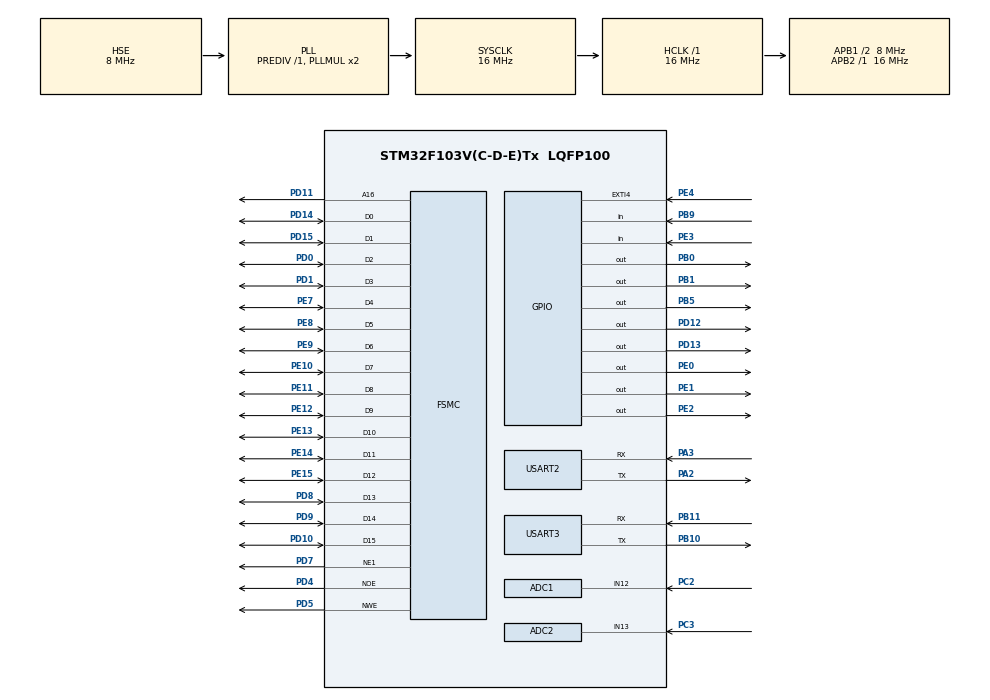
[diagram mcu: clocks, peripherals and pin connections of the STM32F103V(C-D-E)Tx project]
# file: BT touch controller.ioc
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ADC1.Channel-0\#ChannelRegularConversion=ADC_CHANNEL_12
ADC1.NbrOfConversionFlag=1
ADC1.Rank-0\#ChannelRegularConversion=1
ADC1.SamplingTime-0\#ChannelRegularConversion=ADC_SAMPLETIME_1CYCLE_5
ADC1.master=1
ADC2.Channel-0\#ChannelRegularConversion=ADC_CHANNEL_13
ADC2.NbrOfConversionFlag=1
ADC2.Rank-0\#ChannelRegularConversion=1
ADC2.SamplingTime-0\#ChannelRegularConversion=ADC_SAMPLETIME_1CYCLE_5
Mcu.Family=STM32F1
Mcu.Name=STM32F103V(C-D-E)Tx
Mcu.Package=LQFP100
NVIC.EXTI4_IRQn=true\:0\:0\:false\:false\:true\:true\:true\:true
NVIC.PriorityGroup=NVIC_PRIORITYGROUP_4
NVIC.USART2_IRQn=true\:0\:0\:false\:false\:true\:true\:true\:true
NVIC.USART3_IRQn=true\:0\:0\:false\:false\:true\:true\:true\:true
OSC_IN.Mode=HSE-External-Oscillator
OSC_IN.Signal=RCC_OSC_IN
OSC_OUT.Mode=HSE-External-Oscillator
OSC_OUT.Signal=RCC_OSC_OUT
PA13.Mode=Serial_Wire
PA13.Signal=SYS_JTMS-SWDIO
PA14.Mode=Serial_Wire
PA14.Signal=SYS_JTCK-SWCLK
PA2.Mode=Asynchronous
PA2.Signal=USART2_TX
PA3.Mode=Asynchronous
PA3.Signal=USART2_RX
PB0.GPIO_Speed=GPIO_SPEED_FREQ_HIGH
PB0.PinState=GPIO_PIN_SET
PB0.Signal=GPIO_Output
PB1.GPIO_Speed=GPIO_SPEED_FREQ_HIGH
PB1.PinState=GPIO_PIN_SET
PB1.Signal=GPIO_Output
PB10.Mode=Asynchronous
PB10.Signal=USART3_TX
PB11.Mode=Asynchronous
PB11.Signal=USART3_RX
PB5.GPIO_Speed=GPIO_SPEED_FREQ_HIGH
PB5.PinState=GPIO_PIN_SET
PB5.Signal=GPIO_Output
PB9.GPIO_PuPd=GPIO_PULLUP
PB9.Signal=GPIO_Input
PC14-OSC32_IN.Mode=LSE-External-Oscillator
PC14-OSC32_IN.Signal=RCC_OSC32_IN
PC15-OSC32_OUT.Mode=LSE-External-Oscillator
PC15-OSC32_OUT.Signal=RCC_OSC32_OUT
PC2.Signal=ADCx_IN12
PC3.Signal=ADCx_IN13
PD0.Mode=16b-d1
PD0.Signal=FSMC_D2
PD1.Mode=16b-d1
PD1.Signal=FSMC_D3
PD10.Mode=16b-d1
PD10.Signal=FSMC_D15
PD11.Mode=A16_1
PD11.Signal=FSMC_A16
PD12.GPIO_Speed=GPIO_SPEED_FREQ_HIGH
PD12.PinState=GPIO_PIN_RESET
PD12.Signal=GPIO_Output
PD13.GPIO_Speed=GPIO_SPEED_FREQ_HIGH
PD13.Signal=GPIO_Output
PD14.Mode=16b-d1
PD14.Signal=FSMC_D0
PD15.Mode=16b-d1
PD15.Signal=FSMC_D1
PD4.Mode=Lcd1
PD4.Signal=FSMC_NOE
PD5.Mode=Lcd1
PD5.Signal=FSMC_NWE
PD7.Mode=NorPsramChipSelect1_1
PD7.Signal=FSMC_NE1
PD8.Mode=16b-d1
PD8.Signal=FSMC_D13
PD9.Mode=16b-d1
PD9.Signal=FSMC_D14
PE0.GPIO_Speed=GPIO_SPEED_FREQ_HIGH
PE0.Signal=GPIO_Output
PE1.GPIO_Speed=GPIO_SPEED_FREQ_HIGH
PE1.PinState=GPIO_PIN_RESET
PE1.Signal=GPIO_Output
PE10.Mode=16b-d1
PE10.Signal=FSMC_D7
PE11.Mode=16b-d1
PE11.Signal=FSMC_D8
PE12.Mode=16b-d1
PE12.Signal=FSMC_D9
PE13.Mode=16b-d1
PE13.Signal=FSMC_D10
PE14.Mode=16b-d1
PE14.Signal=FSMC_D11
PE15.Mode=16b-d1
PE15.Signal=FSMC_D12
PE2.GPIO_Speed=GPIO_SPEED_FREQ_HIGH
PE2.Signal=GPIO_Output
PE3.GPIO_PuPd=GPIO_PULLUP
PE3.Signal=GPIO_Input
PE4.GPIO_ModeDefaultEXTI=GPIO_MODE_IT_FALLING
PE4.GPIO_PuPd=GPIO_PULLUP
PE4.Signal=GPXTI4
PE7.Mode=16b-d1
PE7.Signal=FSMC_D4
PE8.Mode=16b-d1
PE8.Signal=FSMC_D5
PE9.Mode=16b-d1
PE9.Signal=FSMC_D6
ProjectManager.HeapSize=0x200
ProjectManager.StackSize=0x400
ProjectManager.TargetToolchain=STM32CubeIDE
RCC.AHBFreq_Value=16000000
RCC.APB1CLKDivider=RCC_HCLK_DIV2
RCC.APB1Freq_Value=8000000
RCC.APB1TimFreq_Value=16000000
RCC.APB2Freq_Value=16000000
RCC.APB2TimFreq_Value=16000000
RCC.HCLKFreq_Value=16000000
RCC.PLLSourceVirtual=RCC_PLLSOURCE_HSE
RCC.SYSCLKFreq_VALUE=16000000
RCC.SYSCLKSource=RCC_SYSCLKSOURCE_PLLCLK
RCC.USBFreq_Value=16000000
SH.ADCx_IN12.0=ADC1_IN12,IN12
SH.ADCx_IN13.0=ADC2_IN13,IN13
USART2.VirtualMode=VM_ASYNC
USART3.VirtualMode=VM_ASYNC
board=custom

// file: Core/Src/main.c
/* USER CODE BEGIN Header */
/**
  ******************************************************************************
  * @file           : main.c
  * @brief          : Main program body
  ******************************************************************************
  * @attention
  *
  * <h2><center>&copy; Copyright (c) 2019 STMicroelectronics.
  * All rights reserved.</center></h2>
  *
  * This software component is licensed by ST under BSD 3-Clause license,
  * the "License"; You may not use this file except in compliance with the
  * License. You may obtain a copy of the License at:
  *                        opensource.org/licenses/BSD-3-Clause
  *
  ******************************************************************************
  */
/* USER CODE END Header */
#include "main.h"

/* USER CODE BEGIN Includes */
#include "lcdtp.h"
#include "xpt2046.h"
#include <stdio.h>
#include <string.h>

/* USER CODE END Includes */

ADC_HandleTypeDef hadc1;
ADC_HandleTypeDef hadc2;

UART_HandleTypeDef huart2;
UART_HandleTypeDef huart3;

SRAM_HandleTypeDef hsram1;

/* USER CODE BEGIN PV */
uint32_t adc_value[2];  // Raw ADC values
int16_t cal_value[2];   // Calibrated values (-3 to +3)
char buff[32];          // Buffer for string formatting

uint8_t Data[3];																				//BT

// Calibration constants
#define ADC_SAMPLES 8   // Number of samples for averaging
#define DEAD_ZONE 50    // Dead zone for center position

#define X_CENTER 2029
#define X_MIN    0001
#define X_MAX    4090
#define Y_CENTER 2008
#define Y_MIN    0
#define Y_MAX    4040

    int16_t joystick_x;     // X value
    int16_t joystick_y;     // Y value

/* Function to map ADC value to -5 to +5 scale with dead zone */
int16_t calibrate_axis(uint32_t raw, uint32_t center, uint32_t min_val, uint32_t max_val) {
    if (raw > (center - DEAD_ZONE) && raw < (center + DEAD_ZONE)) {
        return 0;  // Within dead zone, return center position
    }

    if (raw < center) {
        // Map values below center to -5 to 0
        if (raw < min_val) raw = min_val;
        return (int16_t)(-5.0f * (center - raw) / (center - min_val));
    } else {
        // Map values above center to 0 to +5
        if (raw > max_val) raw = max_val;
        return (int16_t)(5.0f * (raw - center) / (max_val - center));
    }
}

/* USER CODE END PV */

void SystemClock_Config(void);
static void MX_GPIO_Init(void);
static void MX_FSMC_Init(void);
static void MX_ADC1_Init(void);
static void MX_ADC2_Init(void);
static void MX_USART2_UART_Init(void);
static void MX_USART3_UART_Init(void);

/* USER CODE BEGIN 0 */
void HAL_UARTEx_RxCpltCallback(UART_HandleTypeDef *huart, uint16_t Size)
{
  if(huart->Instance==USART2)
  {

    HAL_UART_Transmit(&huart2, Data, Size, 1000);

  }
  HAL_UARTEx_ReceiveToIdle_IT(&huart2,Data,3);
}

/* USER CODE END 0 */

int main(void)
{

  /* MCU Configuration--------------------------------------------------------*/

  /* Reset of all peripherals, Initializes the Flash interface and the Systick. */
  HAL_Init();

  /* Configure the system clock */
  SystemClock_Config();

  /* Initialize all configured peripherals */
  MX_GPIO_Init();
  MX_FSMC_Init();
  MX_ADC1_Init();
  MX_ADC2_Init();
  MX_USART2_UART_Init();
  MX_USART3_UART_Init();
  /* USER CODE BEGIN 2 */

	macXPT2046_CS_DISABLE();

	LCD_INIT();

   // Initialize and calibrate both ADCs
  HAL_ADCEx_Calibration_Start(&hadc1);
  HAL_ADCEx_Calibration_Start(&hadc2);

  // Configure ADC1 for Channel 12
  hadc1.Init.ScanConvMode = DISABLE;  // Single channel mode
  hadc1.Init.ContinuousConvMode = ENABLE;
  hadc1.Init.NbrOfConversion = 1;
  HAL_ADC_Init(&hadc1);

  // Configure ADC2 for Channel 13
  hadc2.Init.ScanConvMode = DISABLE;  // Single channel mode
  hadc2.Init.ContinuousConvMode = ENABLE;
  hadc2.Init.NbrOfConversion = 1;
  HAL_ADC_Init(&hadc2);

  // Configure Channel 12 on ADC1
  ADC_ChannelConfTypeDef sConfig = {0};
  sConfig.Channel = ADC_CHANNEL_12;
  sConfig.Rank = ADC_REGULAR_RANK_1;
  sConfig.SamplingTime = ADC_SAMPLETIME_239CYCLES_5;
  HAL_ADC_ConfigChannel(&hadc1, &sConfig);

  // Configure Channel 13 on ADC2
  sConfig.Channel = ADC_CHANNEL_13;
  HAL_ADC_ConfigChannel(&hadc2, &sConfig);

  // Start both ADCs
  HAL_ADC_Start(&hadc1);
  HAL_ADC_Start(&hadc2);

  LCD_DrawString(100, 35, "X       Y");
  LCD_DrawString(10, 60, "Joystick:");

  HAL_UARTEx_ReceiveToIdle_IT(&huart2,Data,3); 			  									// BT

	LCD_Clear (50, 80, 140, 70, RED);
	LCD_DrawString(68, 100, "TOUCHPAD Init");
	HAL_Delay(2000);

	while( ! XPT2046_Touch_Calibrate () );

	LCD_Clear ( 0, 0, 240, 320, GREY );
	// LCD_Clear ( 90,  230,  60, 60, BLUE );

  // Draw 4 buttons at the bottom
  LCD_Clear(20, 232, 50, 50, BLUE);    // Button 1
  LCD_Clear(75, 232, 50, 50, GREEN);   // Button 2
  LCD_Clear(130, 232, 50, 50, YELLOW); // Button 3
  LCD_Clear(185, 232, 50, 50, RED);    // Button 4 (reset)

  // Optionally, add labels
  LCD_DrawString(35, 255, "B1");
  LCD_DrawString(90, 255, "B2");
  LCD_DrawString(145, 255, "B3");
  LCD_DrawString(200, 255, "RST");

  /* USER CODE END 2 */

  /* Infinite loop */
  /* USER CODE BEGIN WHILE */

  while (1)
  {
    if ( ucXPT2046_TouchFlag == 1 )
    {
			Check_touchkey();
      ucXPT2046_TouchFlag = 0;
    }
		HAL_Delay(50);

    /* USER CODE END WHILE */

    /* USER CODE BEGIN 3 */

    uint32_t x_sum = 0;
    uint32_t y_sum = 0;

    // Take multiple samples and average them
    for(int i = 0; i < ADC_SAMPLES; i++) {
        // Read X axis (ADC1 Channel 12)
        HAL_ADC_PollForConversion(&hadc1, 100);
        x_sum += HAL_ADC_GetValue(&hadc1);

        // Read Y axis (ADC2 Channel 13)
        HAL_ADC_PollForConversion(&hadc2, 100);
        y_sum += HAL_ADC_GetValue(&hadc2);

        HAL_Delay(1);
    }

    // Calculate averages
    adc_value[0] = x_sum / ADC_SAMPLES;
    adc_value[1] = y_sum / ADC_SAMPLES;

    // Calibrate values to -10 to +10 scale
    cal_value[0] = calibrate_axis(adc_value[0], X_CENTER, X_MIN, X_MAX);
    cal_value[1] = calibrate_axis(adc_value[1], Y_CENTER, Y_MIN, Y_MAX);

    // Display raw X value
    sprintf(buff, "%04lu", adc_value[0]);
    LCD_DrawString(100, 80, buff);

    // Display raw Y value
    sprintf(buff, "%04lu", adc_value[1]);
    LCD_DrawString(160, 80, buff);

    // Display calibrated X value
    sprintf(buff, "%3d", cal_value[0]);
    LCD_DrawString(100, 100, buff);

    // Display calibrated Y value
    sprintf(buff, "%3d", cal_value[1]);
    LCD_DrawString(160, 100, buff);

    // Read B1 button state (pressed = 0, not pressed = 1)
    uint8_t pressed = (HAL_GPIO_ReadPin(GPIOB, GPIO_PIN_9) == GPIO_PIN_RESET);

    if (pressed) {
        // Remap for B9 pressed
        switch (cal_value[0]) {
            case -5: Data[0] = 35; break;
            case -4: Data[0] = 34; break;
            case -3: Data[0] = 33; break;
            case -2: Data[0] = 32; break;
            case -1: Data[0] = 31; break;
            case 0:  Data[0] = 20; break;
            case 1:  Data[0] = 21; break;
            case 2:  Data[0] = 22; break;
            case 3:  Data[0] = 23; break;
            case 4:  Data[0] = 24; break;
            case 5:  Data[0] = 25; break;
            default: Data[0] = 0; break; // fallback
        }
        switch (cal_value[1]) {
            case -5: Data[1] = 35; break;
            case -4: Data[1] = 34; break;
            case -3: Data[1] = 33; break;
            case -2: Data[1] = 32; break;
            case -1: Data[1] = 31; break;
            case 0:  Data[1] = 20; break;
            case 1:  Data[1] = 21; break;
            case 2:  Data[1] = 22; break;
            case 3:  Data[1] = 23; break;
            case 4:  Data[1] = 24; break;
            case 5:  Data[1] = 25; break;
            default: Data[1] = 0; break; // fallback
        }
    } else {
        // Original mapping for B9 not pressed
        switch (cal_value[0]) {
            case -5: Data[0] = 15; break;
            case -4: Data[0] = 14; break;
            case -3: Data[0] = 13; break;
            case -2: Data[0] = 12; break;
            case -1: Data[0] = 11; break;
            default: Data[0] = (uint8_t)cal_value[0]; break;  // 0 to 5
        }
        switch (cal_value[1]) {
            case -5: Data[1] = 15; break;
            case -4: Data[1] = 14; break;
            case -3: Data[1] = 13; break;
            case -2: Data[1] = 12; break;
            case -1: Data[1] = 11; break;
            default: Data[1] = (uint8_t)cal_value[1]; break;  // 0 to 5
        }
    }

    HAL_UART_Transmit(&huart2, Data, 3, 100);

    sprintf(buff, "Raw: %3d %3d %3d", Data[0], Data[1], Data[2]);
    LCD_DrawString(10, 120, buff);

   // read the register to see if the nrf24l01 is connected to the microcontroller
    /*
    uint8_t status_reg = nrf24_ReadReg(STATUS);
    sprintf(buff, "ST:%02X", status_reg);
    LCD_DrawString(100, 140, buff);
    */

    // Start next conversions
    HAL_ADC_Start(&hadc1);
    HAL_ADC_Start(&hadc2);

    HAL_Delay(50);
  }
  /* USER CODE END 3 */
}

void SystemClock_Config(void)
{
  RCC_OscInitTypeDef RCC_OscInitStruct = {0};
  RCC_ClkInitTypeDef RCC_ClkInitStruct = {0};
  RCC_PeriphCLKInitTypeDef PeriphClkInit = {0};

  /** Initializes the RCC Oscillators according to the specified parameters
  * in the RCC_OscInitTypeDef structure.
  */
  RCC_OscInitStruct.OscillatorType = RCC_OSCILLATORTYPE_HSE;
  RCC_OscInitStruct.HSEState = RCC_HSE_ON;
  RCC_OscInitStruct.HSEPredivValue = RCC_HSE_PREDIV_DIV1;
  RCC_OscInitStruct.HSIState = RCC_HSI_ON;
  RCC_OscInitStruct.PLL.PLLState = RCC_PLL_ON;
  RCC_OscInitStruct.PLL.PLLSource = RCC_PLLSOURCE_HSE;
  RCC_OscInitStruct.PLL.PLLMUL = RCC_PLL_MUL2;
  if (HAL_RCC_OscConfig(&RCC_OscInitStruct) != HAL_OK)
  {
    Error_Handler();
  }

  /** Initializes the CPU, AHB and APB buses clocks
  */
  RCC_ClkInitStruct.ClockType = RCC_CLOCKTYPE_HCLK|RCC_CLOCKTYPE_SYSCLK
                              |RCC_CLOCKTYPE_PCLK1|RCC_CLOCKTYPE_PCLK2;
  RCC_ClkInitStruct.SYSCLKSource = RCC_SYSCLKSOURCE_PLLCLK;
  RCC_ClkInitStruct.AHBCLKDivider = RCC_SYSCLK_DIV1;
  RCC_ClkInitStruct.APB1CLKDivider = RCC_HCLK_DIV2;
  RCC_ClkInitStruct.APB2CLKDivider = RCC_HCLK_DIV1;

  if (HAL_RCC_ClockConfig(&RCC_ClkInitStruct, FLASH_LATENCY_0) != HAL_OK)
  {
    Error_Handler();
  }
  PeriphClkInit.PeriphClockSelection = RCC_PERIPHCLK_ADC;
  PeriphClkInit.AdcClockSelection = RCC_ADCPCLK2_DIV2;
  if (HAL_RCCEx_PeriphCLKConfig(&PeriphClkInit) != HAL_OK)
  {
    Error_Handler();
  }
}

static void MX_ADC1_Init(void)
{

  ADC_ChannelConfTypeDef sConfig = {0};

  /** Common config
  */
  hadc1.Instance = ADC1;
  hadc1.Init.ScanConvMode = ADC_SCAN_DISABLE;
  hadc1.Init.ContinuousConvMode = DISABLE;
  hadc1.Init.DiscontinuousConvMode = DISABLE;
  hadc1.Init.ExternalTrigConv = ADC_SOFTWARE_START;
  hadc1.Init.DataAlign = ADC_DATAALIGN_RIGHT;
  hadc1.Init.NbrOfConversion = 1;
  if (HAL_ADC_Init(&hadc1) != HAL_OK)
  {
    Error_Handler();
  }

  /** Configure Regular Channel
  */
  sConfig.Channel = ADC_CHANNEL_12;
  sConfig.Rank = ADC_REGULAR_RANK_1;
  sConfig.SamplingTime = ADC_SAMPLETIME_1CYCLE_5;
  if (HAL_ADC_ConfigChannel(&hadc1, &sConfig) != HAL_OK)
  {
    Error_Handler();
  }

}

static void MX_ADC2_Init(void)
{

  ADC_ChannelConfTypeDef sConfig = {0};

  /** Common config
  */
  hadc2.Instance = ADC2;
  hadc2.Init.ScanConvMode = ADC_SCAN_DISABLE;
  hadc2.Init.ContinuousConvMode = DISABLE;
  hadc2.Init.DiscontinuousConvMode = DISABLE;
  hadc2.Init.ExternalTrigConv = ADC_SOFTWARE_START;
  hadc2.Init.DataAlign = ADC_DATAALIGN_RIGHT;
  hadc2.Init.NbrOfConversion = 1;
  if (HAL_ADC_Init(&hadc2) != HAL_OK)
  {
    Error_Handler();
  }

  /** Configure Regular Channel
  */
  sConfig.Channel = ADC_CHANNEL_13;
  sConfig.Rank = ADC_REGULAR_RANK_1;
  sConfig.SamplingTime = ADC_SAMPLETIME_1CYCLE_5;
  if (HAL_ADC_ConfigChannel(&hadc2, &sConfig) != HAL_OK)
  {
    Error_Handler();
  }

}

static void MX_USART2_UART_Init(void)
{

  huart2.Instance = USART2;
  huart2.Init.BaudRate = 115200;
  huart2.Init.WordLength = UART_WORDLENGTH_8B;
  huart2.Init.StopBits = UART_STOPBITS_1;
  huart2.Init.Parity = UART_PARITY_NONE;
  huart2.Init.Mode = UART_MODE_TX_RX;
  huart2.Init.HwFlowCtl = UART_HWCONTROL_NONE;
  huart2.Init.OverSampling = UART_OVERSAMPLING_16;
  if (HAL_UART_Init(&huart2) != HAL_OK)
  {
    Error_Handler();
  }

}

static void MX_USART3_UART_Init(void)
{

  huart3.Instance = USART3;
  huart3.Init.BaudRate = 115200;
  huart3.Init.WordLength = UART_WORDLENGTH_8B;
  huart3.Init.StopBits = UART_STOPBITS_1;
  huart3.Init.Parity = UART_PARITY_NONE;
  huart3.Init.Mode = UART_MODE_TX_RX;
  huart3.Init.HwFlowCtl = UART_HWCONTROL_NONE;
  huart3.Init.OverSampling = UART_OVERSAMPLING_16;
  if (HAL_UART_Init(&huart3) != HAL_OK)
  {
    Error_Handler();
  }

}

static void MX_GPIO_Init(void)
{
  GPIO_InitTypeDef GPIO_InitStruct = {0};

  /* GPIO Ports Clock Enable */
  __HAL_RCC_GPIOE_CLK_ENABLE();
  __HAL_RCC_GPIOC_CLK_ENABLE();
  __HAL_RCC_GPIOA_CLK_ENABLE();
  __HAL_RCC_GPIOB_CLK_ENABLE();
  __HAL_RCC_GPIOD_CLK_ENABLE();

  /*Configure GPIO pin Output Level */
  HAL_GPIO_WritePin(GPIOE, GPIO_PIN_2|GPIO_PIN_0|GPIO_PIN_1, GPIO_PIN_RESET);

  /*Configure GPIO pin Output Level */
  HAL_GPIO_WritePin(GPIOB, GPIO_PIN_0|GPIO_PIN_1|GPIO_PIN_5, GPIO_PIN_SET);

  /*Configure GPIO pin Output Level */
  HAL_GPIO_WritePin(GPIOD, GPIO_PIN_12|GPIO_PIN_13, GPIO_PIN_RESET);

  /*Configure GPIO pins : PE2 PE0 PE1 */
  GPIO_InitStruct.Pin = GPIO_PIN_2|GPIO_PIN_0|GPIO_PIN_1;
  GPIO_InitStruct.Mode = GPIO_MODE_OUTPUT_PP;
  GPIO_InitStruct.Pull = GPIO_NOPULL;
  GPIO_InitStruct.Speed = GPIO_SPEED_FREQ_HIGH;
  HAL_GPIO_Init(GPIOE, &GPIO_InitStruct);

  /*Configure GPIO pin : PE3 */
  GPIO_InitStruct.Pin = GPIO_PIN_3;
  GPIO_InitStruct.Mode = GPIO_MODE_INPUT;
  GPIO_InitStruct.Pull = GPIO_PULLUP;
  HAL_GPIO_Init(GPIOE, &GPIO_InitStruct);

  /*Configure GPIO pin : PE4 */
  GPIO_InitStruct.Pin = GPIO_PIN_4;
  GPIO_InitStruct.Mode = GPIO_MODE_IT_FALLING;
  GPIO_InitStruct.Pull = GPIO_PULLUP;
  HAL_GPIO_Init(GPIOE, &GPIO_InitStruct);

  /*Configure GPIO pins : PB0 PB1 PB5 */
  GPIO_InitStruct.Pin = GPIO_PIN_0|GPIO_PIN_1|GPIO_PIN_5;
  GPIO_InitStruct.Mode = GPIO_MODE_OUTPUT_PP;
  GPIO_InitStruct.Pull = GPIO_NOPULL;
  GPIO_InitStruct.Speed = GPIO_SPEED_FREQ_HIGH;
  HAL_GPIO_Init(GPIOB, &GPIO_InitStruct);

  /*Configure GPIO pins : PD12 PD13 */
  GPIO_InitStruct.Pin = GPIO_PIN_12|GPIO_PIN_13;
  GPIO_InitStruct.Mode = GPIO_MODE_OUTPUT_PP;
  GPIO_InitStruct.Pull = GPIO_NOPULL;
  GPIO_InitStruct.Speed = GPIO_SPEED_FREQ_HIGH;
  HAL_GPIO_Init(GPIOD, &GPIO_InitStruct);

  /*Configure GPIO pin : PB9 */
  GPIO_InitStruct.Pin = GPIO_PIN_9;
  GPIO_InitStruct.Mode = GPIO_MODE_INPUT;
  GPIO_InitStruct.Pull = GPIO_PULLUP;
  HAL_GPIO_Init(GPIOB, &GPIO_InitStruct);

  /* EXTI interrupt init*/
  HAL_NVIC_SetPriority(EXTI4_IRQn, 0, 0);
  HAL_NVIC_EnableIRQ(EXTI4_IRQn);

}

/* FSMC initialization function */
static void MX_FSMC_Init(void)
{

  FSMC_NORSRAM_TimingTypeDef Timing = {0};

  /** Perform the SRAM1 memory initialization sequence
  */
  hsram1.Instance = FSMC_NORSRAM_DEVICE;
  hsram1.Extended = FSMC_NORSRAM_EXTENDED_DEVICE;
  /* hsram1.Init */
  hsram1.Init.NSBank = FSMC_NORSRAM_BANK1;
  hsram1.Init.DataAddressMux = FSMC_DATA_ADDRESS_MUX_DISABLE;
  hsram1.Init.MemoryType = FSMC_MEMORY_TYPE_SRAM;
  hsram1.Init.MemoryDataWidth = FSMC_NORSRAM_MEM_BUS_WIDTH_16;
  hsram1.Init.BurstAccessMode = FSMC_BURST_ACCESS_MODE_DISABLE;
  hsram1.Init.WaitSignalPolarity = FSMC_WAIT_SIGNAL_POLARITY_LOW;
  hsram1.Init.WrapMode = FSMC_WRAP_MODE_DISABLE;
  hsram1.Init.WaitSignalActive = FSMC_WAIT_TIMING_BEFORE_WS;
  hsram1.Init.WriteOperation = FSMC_WRITE_OPERATION_ENABLE;
  hsram1.Init.WaitSignal = FSMC_WAIT_SIGNAL_DISABLE;
  hsram1.Init.ExtendedMode = FSMC_EXTENDED_MODE_DISABLE;
  hsram1.Init.AsynchronousWait = FSMC_ASYNCHRONOUS_WAIT_DISABLE;
  hsram1.Init.WriteBurst = FSMC_WRITE_BURST_DISABLE;
  /* Timing */
  Timing.AddressSetupTime = 15;
  Timing.AddressHoldTime = 15;
  Timing.DataSetupTime = 255;
  Timing.BusTurnAroundDuration = 15;
  Timing.CLKDivision = 16;
  Timing.DataLatency = 17;
  Timing.AccessMode = FSMC_ACCESS_MODE_A;
  /* ExtTiming */

  if (HAL_SRAM_Init(&hsram1, &Timing, NULL) != HAL_OK)
  {
    Error_Handler( );
  }

  /** Disconnect NADV
  */

  __HAL_AFIO_FSMCNADV_DISCONNECTED();

}

/* USER CODE BEGIN 4 */

void Check_touchkey(void)
{
    strType_XPT2046_Coordinate strDisplayCoordinate;

    if (XPT2046_Get_TouchedPoint(&strDisplayCoordinate, &strXPT2046_TouchPara))
    {
        // Define 4 button areas horizontally in the region y: 232-282
        if ((strDisplayCoordinate.y > 232) && (strDisplayCoordinate.y < 282))
        {
            if ((strDisplayCoordinate.x > 20) && (strDisplayCoordinate.x < 70))
            {
                // Button 1
                Data[2] = 1;
            }
            else if ((strDisplayCoordinate.x > 75) && (strDisplayCoordinate.x < 125))
            {
                // Button 2
                Data[2] = 2;
            }
            else if ((strDisplayCoordinate.x > 130) && (strDisplayCoordinate.x < 180))
            {
                // Button 3
                Data[2] = 3;
            }
            else if ((strDisplayCoordinate.x > 185) && (strDisplayCoordinate.x < 235))
            {
                // Button 4 (reset)
                Data[2] = 0;
            }
        }
    }
}

/* USER CODE END 4 */

void Error_Handler(void)
{
}
